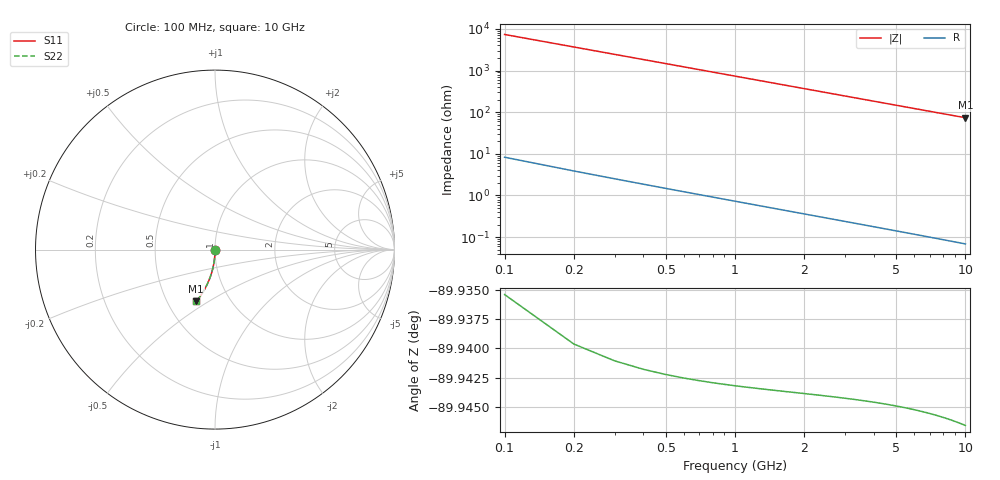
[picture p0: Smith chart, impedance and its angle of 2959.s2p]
# Hz S RI R 50.00
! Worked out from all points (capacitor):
!   100 points, 100 MHz to 10 GHz, reference 50 ohm
!   read as one part in shunt: C = 217 fF near 100 MHz
!   lowest |Z| = 73.6 ohm at 10 GHz (marker M1)
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1e8  0.000158 -0.00323  0.9998 -0.00357  0.9998 -0.00357  0.000158 -0.00323
2e8  0.000122 -0.00646  0.9998 -0.00715  0.9998 -0.00715  0.000122 -0.00646
3e8  6.14e-05 -0.00969  0.9997 -0.0107  0.9997 -0.0107  6.14e-05 -0.00969
4e8  -2.2e-05 -0.0129  0.9996 -0.0143  0.9996 -0.0143  -2.2e-05 -0.0129
5e8  -0.000129 -0.0161  0.9995 -0.0179  0.9995 -0.0179  -0.000129 -0.0161
6e8  -0.000258 -0.0194  0.9994 -0.0214  0.9994 -0.0214  -0.000258 -0.0194
7e8  -0.000411 -0.0226  0.9992 -0.025  0.9992 -0.025  -0.000411 -0.0226
8e8  -0.000587 -0.0258  0.9991 -0.0286  0.9991 -0.0286  -0.000587 -0.0258
9e8  -0.000786 -0.029  0.9989 -0.0321  0.9989 -0.0321  -0.000786 -0.029
1.1e9  -0.00125 -0.0355  0.9984 -0.0393  0.9984 -0.0393  -0.00125 -0.0355
1.4e9  -0.00212 -0.0451  0.9975 -0.0499  0.9975 -0.0499  -0.00212 -0.0451
1.8e9  -0.00361 -0.0579  0.996 -0.0641  0.996 -0.0641  -0.00361 -0.0579
2.1e9  -0.00495 -0.0675  0.9947 -0.0747  0.9947 -0.0747  -0.00495 -0.0675
2.5e9  -0.00707 -0.0802  0.9925 -0.0888  0.9925 -0.0888  -0.00707 -0.0802
2.9e9  -0.00953 -0.0927  0.99 -0.1027  0.99 -0.1027  -0.00953 -0.0927
3.4e9  -0.0131 -0.1083  0.9864 -0.12  0.9864 -0.12  -0.0131 -0.1083
4.2e9  -0.0199 -0.1329  0.9796 -0.1473  0.9796 -0.1473  -0.0199 -0.1329
5.1e9  -0.0292 -0.1598  0.9703 -0.1774  0.9703 -0.1774  -0.0292 -0.1598
5.9e9  -0.0387 -0.183  0.9607 -0.2034  0.9607 -0.2034  -0.0387 -0.183
6.7e9  -0.0495 -0.2055  0.9499 -0.2286  0.9499 -0.2286  -0.0495 -0.2055
8.4e9  -0.0758 -0.2503  0.9234 -0.2793  0.9234 -0.2793  -0.0758 -0.2503
1e10  -0.1043 -0.2885  0.8947 -0.3231  0.8947 -0.3231  -0.1043 -0.2885
